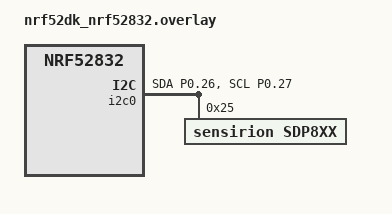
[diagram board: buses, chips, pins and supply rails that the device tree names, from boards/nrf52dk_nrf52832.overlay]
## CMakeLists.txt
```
# SPDX-License-Identifier: Apache-2.0

cmake_minimum_required(VERSION 3.20.0)

list(APPEND EXTRA_ZEPHYR_MODULES
  ${CMAKE_CURRENT_SOURCE_DIR}/../../../
)

find_package(Zephyr REQUIRED HINTS $ENV{ZEPHYR_BASE})
project(sdp8xx_sample)

target_sources(app PRIVATE src/main.c)
```

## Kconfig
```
# Copyright (c) 2021 Nordic Semiconductor ASA
# SPDX-License-Identifier: Apache-2.0
#
# This file is the application Kconfig entry point. All application Kconfig
# options can be defined here or included via other application Kconfig files.
# You can browse these options using the west targets menuconfig (terminal) or
# guiconfig (GUI).

menu "Zephyr"
source "Kconfig.zephyr"
endmenu

module = SDP8XX_SAMPLE
module-str = SDP8XX_SAMPLE
source "subsys/logging/Kconfig.template.log_config"
```

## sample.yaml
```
sample:
  description: SDP8XX Driver Sample Application for NRF boards
  name: SDP8XX Driver Sample App
  
common: 
    sysbuild: true
    build_only: true
    integration_platforms: 
      - nrf52dk/nrf52832
      - nrf52833dk/nrf52833
      - nrf52840dk/nrf52840
      - nrf9160dk/nrf9160/ns
      - nrf9161dk/nrf9161/ns
      - nrf9151dk/nrf9151/ns
      - nrf5340dk/nrf5340/cpuapp
      - nrf5340dk/nrf5340/cpuapp/ns
      - nrf54l15dk/nrf54l15/cpuapp
      - nrf54l15dk/nrf54l15/cpuapp/ns
      - nrf7002dk/nrf5340/cpuapp
      - nrf7002dk/nrf5340/cpuapp/ns
    platform_exclude:
      - native_sim
```

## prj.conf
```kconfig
CONFIG_LOG=y

CONFIG_CBPRINTF_FP_SUPPORT=y
CONFIG_RESET_ON_FATAL_ERROR=n

CONFIG_SENSOR=y
CONFIG_I2C=y
CONFIG_SDP8XX=y

CONFIG_PM_DEVICE=y
CONFIG_PM_DEVICE_RUNTIME=y
```

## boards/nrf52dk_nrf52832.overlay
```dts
&i2c0 {
	compatible = "nordic,nrf-twi";
	status = "okay";
	pinctrl-0 = <&i2c0_default>;
	pinctrl-1 = <&i2c0_sleep>;
	pinctrl-names = "default", "sleep";
	zephyr,pm-device-runtime-auto;
	sdp8xx@25 {
		status = "okay";
		compatible = "sensirion,sdp8xx";
		reg = <0x25>;
		/* clock-stretching; */
		/* measurement-mode = "diff-pressure"; */
		zephyr,pm-device-runtime-auto;
	};
};

&pinctrl {
    i2c0_default: i2c0_default {
        group1 {
            psels = <NRF_PSEL(TWIM_SDA, 0, 26)>,
                    <NRF_PSEL(TWIM_SCL, 0, 27)>;
            bias-pull-up;
        };
    };

    i2c0_sleep: i2c0_sleep {
        group1 {
            psels = <NRF_PSEL(TWIM_SDA, 0, 26)>,
                    <NRF_PSEL(TWIM_SCL, 0, 27)>;
            low-power-enable;
			bias-pull-up;
        };
    };
};
```

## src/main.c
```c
/*
 * Copyright (c) 2025 Lauri Pöhö
 *
 * SPDX-License-Identifier: Apache-2.0
 */

#include <zephyr/kernel.h>
#include <zephyr/drivers/sensor.h>
#include <zephyr/logging/log.h>

#include <zephyr/drivers/sensor/sdp8xx.h>

LOG_MODULE_REGISTER(APP, LOG_LEVEL_INF);
 
const struct device *dev = DEVICE_DT_GET_ANY(sensirion_sdp8xx);

int main(void)
{
    if (!device_is_ready(dev)) {
        LOG_ERR("Sensor not ready.");
        return 0;
    }

    struct sensor_value pressure, temp;
    while (1) {
        if (sensor_sample_fetch(dev) < 0) {
            LOG_WRN("Fetch failed");
            k_sleep(K_MSEC(500)); 
            continue;
        }

        sensor_channel_get(dev, SENSOR_CHAN_PRESS, &pressure);
        sensor_channel_get(dev, SENSOR_CHAN_AMBIENT_TEMP, &temp);

        float diff_pressure = sensor_value_to_float(&pressure);

        LOG_INF("Pressure: %.1f Pa", diff_pressure);

        k_sleep(K_MSEC(100));
    }
    return 0;
}
```
